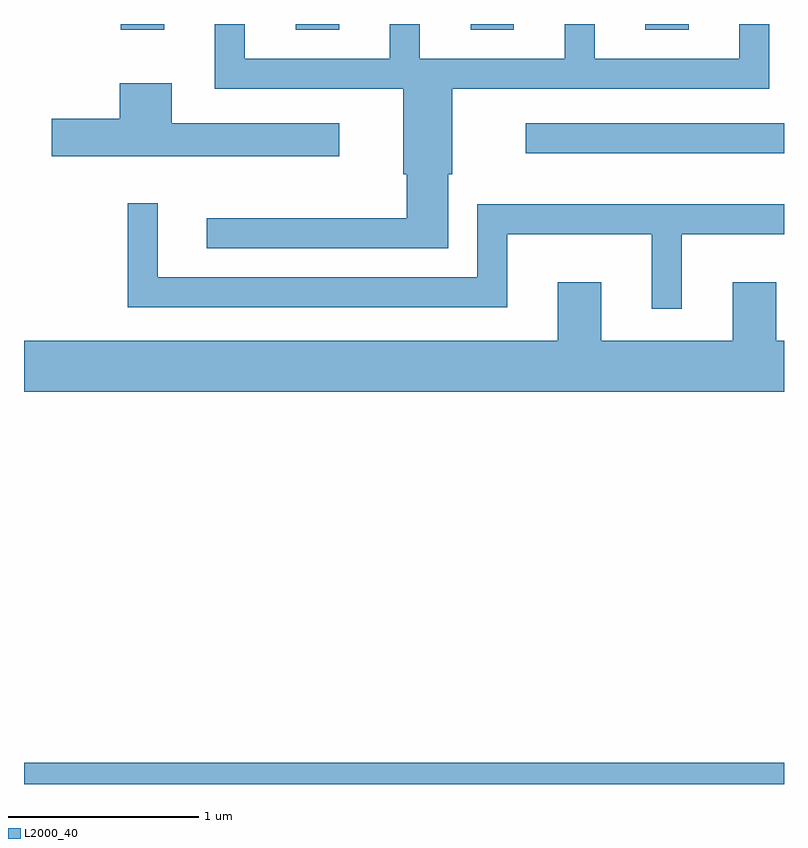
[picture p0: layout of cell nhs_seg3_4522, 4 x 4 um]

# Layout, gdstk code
import gdstk
lib = gdstk.Library(unit=1e-6, precision=1e-09)
def R(c, l, rs):  # rectangles x0, y0, x1, y1
    for r in rs: c.add(gdstk.rectangle(r[:2], r[2:], *l))
def A(c, l, x, y, w, h, nx, ny, dx, dy):  # array of equal rectangles
    R(c, l, [(x+i*dx, y+j*dy, x+i*dx+w, y+j*dy+h) for i in range(nx) for j in range(ny)])
def P(c, l, *ps):  # polygons
    for p in ps: c.add(gdstk.Polygon(p, *l))
L2000_40 = (2000, 40)

nhs_seg3_4522 = lib.new_cell('nhs_seg3_4522')
A(nhs_seg3_4522, L2000_40, 318.121, 1187.861, 0.228, 0.031, 4, 1, 0.92, 0)
R(nhs_seg3_4522, L2000_40, [(317.611,1183.892,321.611,1184.004), (320.253,1187.211,321.611,1187.369)])
P(nhs_seg3_4522, L2000_40, [(319.844,1187.101),(319.864,1187.101),(319.864,1187.551),(321.534,1187.551),(321.534,1187.892),(321.376,1187.892),(321.376,1187.709),(320.614,1187.709),(320.614,1187.892),(320.456,1187.892),(320.456,1187.709),(319.694,1187.709),(319.694,1187.892),(319.536,1187.892),(319.536,1187.709),(318.774,1187.709),(318.774,1187.892),(318.616,1187.892),(318.616,1187.551),(319.606,1187.551),(319.606,1187.101),(319.626,1187.101),(319.626,1186.869),(318.573,1186.869),(318.573,1186.711),(319.844,1186.711)],
  [(319.269,1187.369),(318.389,1187.369),(318.389,1187.579),(318.116,1187.579),(318.116,1187.394),(317.756,1187.394),(317.756,1187.196),(319.269,1187.196)],
  [(321.074,1186.786),(321.611,1186.786),(321.611,1186.944),(319.996,1186.944),(319.996,1186.559),(318.314,1186.559),(318.314,1186.948),(318.156,1186.948),(318.156,1186.401),(320.154,1186.401),(320.154,1186.786),(320.916,1186.786),(320.916,1186.393),(321.074,1186.393)],
  [(321.611,1186.224),(321.569,1186.224),(321.569,1186.534),(321.341,1186.534),(321.341,1186.224),(320.649,1186.224),(320.649,1186.534),(320.421,1186.534),(320.421,1186.224),(317.611,1186.224),(317.611,1185.956),(321.611,1185.956)])

lib.write_gds('nhs_seg3_4522.gds')
